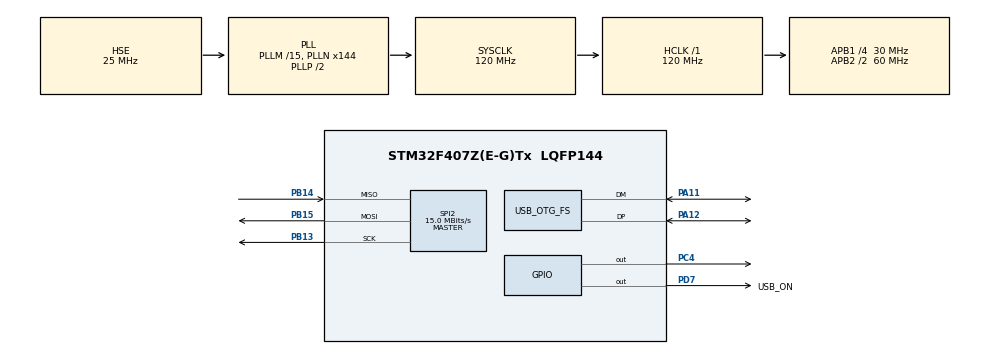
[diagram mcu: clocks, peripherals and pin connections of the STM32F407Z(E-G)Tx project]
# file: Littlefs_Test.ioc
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Mcu.Family=STM32F4
Mcu.Name=STM32F407Z(E-G)Tx
Mcu.Package=LQFP144
NVIC.OTG_FS_IRQn=true\:0\:0\:false\:false\:true\:true\:true\:true
NVIC.PriorityGroup=NVIC_PRIORITYGROUP_4
PA11.Mode=Device_Only
PA11.Signal=USB_OTG_FS_DM
PA12.Mode=Device_Only
PA12.Signal=USB_OTG_FS_DP
PB13.Mode=Full_Duplex_Master
PB13.Signal=SPI2_SCK
PB14.Mode=Full_Duplex_Master
PB14.Signal=SPI2_MISO
PB15.Mode=Full_Duplex_Master
PB15.Signal=SPI2_MOSI
PC14-OSC32_IN.Mode=LSE-External-Oscillator
PC14-OSC32_IN.Signal=RCC_OSC32_IN
PC15-OSC32_OUT.Mode=LSE-External-Oscillator
PC15-OSC32_OUT.Signal=RCC_OSC32_OUT
PC4.Signal=GPIO_Output
PD7.GPIO_Label=USB_ON
PD7.Signal=GPIO_Output
PH0-OSC_IN.Mode=HSE-External-Oscillator
PH0-OSC_IN.Signal=RCC_OSC_IN
PH1-OSC_OUT.Mode=HSE-External-Oscillator
PH1-OSC_OUT.Signal=RCC_OSC_OUT
ProjectManager.HeapSize=0x2000
ProjectManager.StackSize=0x4000
ProjectManager.TargetToolchain=STM32CubeIDE
RCC.48MHZClocksFreq_Value=48000000
RCC.AHBFreq_Value=120000000
RCC.APB1CLKDivider=RCC_HCLK_DIV4
RCC.APB1Freq_Value=30000000
RCC.APB1TimFreq_Value=60000000
RCC.APB2CLKDivider=RCC_HCLK_DIV2
RCC.APB2Freq_Value=60000000
RCC.APB2TimFreq_Value=120000000
RCC.CortexFreq_Value=120000000
RCC.HCLKFreq_Value=120000000
RCC.HSE_VALUE=25000000
RCC.HSI_VALUE=16000000
RCC.PLLM=15
RCC.PLLN=144
RCC.PLLQ=5
RCC.SYSCLKFreq_VALUE=120000000
RCC.SYSCLKSource=RCC_SYSCLKSOURCE_PLLCLK
RCC.VCOOutputFreq_Value=240000000
SPI2.BaudRatePrescaler=SPI_BAUDRATEPRESCALER_2
SPI2.CalculateBaudRate=15.0 MBits/s
SPI2.Direction=SPI_DIRECTION_2LINES
SPI2.Mode=SPI_MODE_MASTER
SPI2.VirtualType=VM_MASTER
USB_DEVICE.CLASS_NAME_FS=CDC
USB_DEVICE.VirtualMode-CDC_FS=Cdc
USB_DEVICE.VirtualModeFS=Cdc_FS
USB_OTG_FS.VirtualMode=Device_Only
VP_USB_DEVICE_VS_USB_DEVICE_CDC_FS.Mode=CDC_FS
board=custom

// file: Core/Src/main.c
/* USER CODE BEGIN Header */
/**
  ******************************************************************************
  * @file           : main.c
  * @brief          : Main program body
  ******************************************************************************
  * @attention
  *
  * Copyright (c) 2026 STMicroelectronics.
  * All rights reserved.
  *
  * This software is licensed under terms that can be found in the LICENSE file
  * in the root directory of this software component.
  * If no LICENSE file comes with this software, it is provided AS-IS.
  *
  ******************************************************************************
  */
/* USER CODE END Header */
#include "main.h"
#include "usb_device.h"

/* USER CODE BEGIN Includes */
#include "lfs.h"
#include "W25Qxx.h"
#include "usbd_cdc_if.h"
#include <string.h>
#include <stdio.h>

/* USER CODE END Includes */

/* USER CODE BEGIN PD */
#define RX_BUFFER 			4096
#define TX_BUFFER 			30
#define CHUNK_SIZE       	256

/* USER CODE END PD */

SPI_HandleTypeDef hspi2;

/* USER CODE BEGIN PV */
lfs_t lfs;
lfs_file_t file1;
lfs_file_t file2;

lfs_dir_t dir;
struct lfs_info info;

int flag = 0;
uint32_t lenBuf = 0;
uint8_t resBuffer[256];
char text[64];
char buf1[] = "hello this is page 2\n";
char buf2[] = "hello this is page 3 offset 100\n";
char buf3[] = "hello this is page 16\n";
uint8_t writeEnable = 0;

/* USER CODE END PV */

void SystemClock_Config(void);
static void MX_GPIO_Init(void);
static void MX_SPI2_Init(void);
/* USER CODE BEGIN PFP */
int lfs_read(const struct lfs_config *c,
              lfs_block_t block,
              lfs_off_t off,
              void *buffer,
              lfs_size_t size)
{
    uint32_t addr = block * c->block_size + off;
    uint32_t page = addr / 256;
	uint32_t offset = addr % 256;
    W25Q_Read(page, offset, size, buffer);
    return 0;
}

int lfs_prog(const struct lfs_config *c,
              lfs_block_t block,
              lfs_off_t off,
              const void *buffer,
              lfs_size_t size)
{
	uint32_t addr = block * c->block_size + off;
	    const uint8_t *data = buffer;

	    while(size)
	    {
	        uint32_t page = addr / 256;
	        uint32_t offset = addr % 256;

	        uint32_t chunk = 256 - offset;
	        if(chunk > size) chunk = size;

	        W25Q_Write(page, offset, chunk, (uint8_t*)data);

	        addr += chunk;
	        data += chunk;
	        size -= chunk;
	    }
    return 0;
}

int lfs_erase(const struct lfs_config *c,
               lfs_block_t block)
{
    uint32_t addr = block * c->block_size;
    uint16_t numsector = addr / 4096;
    W25Q_Erase_Sector(numsector);
    return 0;
}

int lfs_sync(const struct lfs_config *c)
{
    return 0;
}
/* USER CODE END PFP */

/* USER CODE BEGIN 0 */
struct lfs_config cfg =
{
.read  = lfs_read,
.prog  = lfs_prog,
.erase = lfs_erase,
.sync  = lfs_sync,

.read_size = 256,
.prog_size = 256,
.block_size = 4096,
.block_count = 1024,
.cache_size = 256,
.lookahead_size = 16,
.block_cycles = 500
};
/* USER CODE END 0 */

int main(void)
{

  /* MCU Configuration--------------------------------------------------------*/

  /* Reset of all peripherals, Initializes the Flash interface and the Systick. */
  HAL_Init();

  /* Configure the system clock */
  SystemClock_Config();

  /* Initialize all configured peripherals */
  MX_GPIO_Init();
  MX_SPI2_Init();
  MX_USB_DEVICE_Init();
  /* USER CODE BEGIN 2 */
  W25Q_Reset();
  uint32_t ID = 0;
  ID = W25Q_ReadID();
  writeEnable = W25Q_Read_Byte(0);

  for(uint8_t i = 0; i < 2; i++){
	  W25Q_Erase_Sector(i);
	  HAL_Delay(20);
  }

  int err = lfs_mount(&lfs, &cfg);
  int err1 = 0 ;
  if (err < 0)
  {
      printf("file open failed %d\n", err);
  }
  if (err)
  {
      lfs_format(&lfs, &cfg);
      err1 = lfs_mount(&lfs, &cfg);
  }
  if (err1 < 0)
    {
        printf("file open failed %d\n", err1);
    }
  lfs_file_open(&lfs, &file1, "test1.txt", LFS_O_WRONLY | LFS_O_CREAT);
  char msg[] = "this is a test for LittleFS and it is working.\n";

  lfs_file_write(&lfs, &file1, msg, sizeof(msg));
  lfs_file_close(&lfs, &file1);

  lfs_file_open(&lfs, &file2, "test2.txt", LFS_O_WRONLY | LFS_O_CREAT);
  char msg2[] = "This file is the seccond file for testing LittleFS!\n";

  lfs_file_write(&lfs, &file2, msg2, sizeof(msg2));
  lfs_file_close(&lfs, &file2);

  /* USER CODE END 2 */

  /* Infinite loop */
  while (1)
  {

    /* USER CODE BEGIN 3 */
	  lfs_file_open(&lfs, &file1, "test1.txt", LFS_O_RDONLY);
	  lfs_file_read(&lfs, &file1, text, sizeof(text)-1);
	  lfs_file_close(&lfs, &file1);
	  CDC_Transmit_FS((uint8_t *)text, strlen(text));
	  lfs_file_open(&lfs, &file2, "test2.txt", LFS_O_RDONLY);
	  lfs_file_read(&lfs, &file2, text, sizeof(text)-1);
	  lfs_file_close(&lfs, &file2);
	  CDC_Transmit_FS((uint8_t *)text, strlen(text));
	  lfs_dir_t dir;
	  struct lfs_info info;

	  lfs_dir_open(&lfs, &dir, "/");

	  while (lfs_dir_read(&lfs, &dir, &info) > 0)
	  {
		  char buf_info[64];
	      sprintf(buf_info,"File: %s\n", info.name);
	      CDC_Transmit_FS((uint8_t *)buf_info, strlen(buf_info));
	  }

	  lfs_dir_close(&lfs, &dir);
	  while(1);

  }
  /* USER CODE END 3 */
}

void SystemClock_Config(void)
{
  RCC_OscInitTypeDef RCC_OscInitStruct = {0};
  RCC_ClkInitTypeDef RCC_ClkInitStruct = {0};

  /** Configure the main internal regulator output voltage
  */
  __HAL_RCC_PWR_CLK_ENABLE();
  __HAL_PWR_VOLTAGESCALING_CONFIG(PWR_REGULATOR_VOLTAGE_SCALE1);

  /** Initializes the RCC Oscillators according to the specified parameters
  * in the RCC_OscInitTypeDef structure.
  */
  RCC_OscInitStruct.OscillatorType = RCC_OSCILLATORTYPE_HSE;
  RCC_OscInitStruct.HSEState = RCC_HSE_ON;
  RCC_OscInitStruct.PLL.PLLState = RCC_PLL_ON;
  RCC_OscInitStruct.PLL.PLLSource = RCC_PLLSOURCE_HSE;
  RCC_OscInitStruct.PLL.PLLM = 15;
  RCC_OscInitStruct.PLL.PLLN = 144;
  RCC_OscInitStruct.PLL.PLLP = RCC_PLLP_DIV2;
  RCC_OscInitStruct.PLL.PLLQ = 5;
  if (HAL_RCC_OscConfig(&RCC_OscInitStruct) != HAL_OK)
  {
    Error_Handler();
  }

  /** Initializes the CPU, AHB and APB buses clocks
  */
  RCC_ClkInitStruct.ClockType = RCC_CLOCKTYPE_HCLK|RCC_CLOCKTYPE_SYSCLK
                              |RCC_CLOCKTYPE_PCLK1|RCC_CLOCKTYPE_PCLK2;
  RCC_ClkInitStruct.SYSCLKSource = RCC_SYSCLKSOURCE_PLLCLK;
  RCC_ClkInitStruct.AHBCLKDivider = RCC_SYSCLK_DIV1;
  RCC_ClkInitStruct.APB1CLKDivider = RCC_HCLK_DIV4;
  RCC_ClkInitStruct.APB2CLKDivider = RCC_HCLK_DIV2;

  if (HAL_RCC_ClockConfig(&RCC_ClkInitStruct, FLASH_LATENCY_3) != HAL_OK)
  {
    Error_Handler();
  }
}

static void MX_SPI2_Init(void)
{

  /* SPI2 parameter configuration*/
  hspi2.Instance = SPI2;
  hspi2.Init.Mode = SPI_MODE_MASTER;
  hspi2.Init.Direction = SPI_DIRECTION_2LINES;
  hspi2.Init.DataSize = SPI_DATASIZE_8BIT;
  hspi2.Init.CLKPolarity = SPI_POLARITY_LOW;
  hspi2.Init.CLKPhase = SPI_PHASE_1EDGE;
  hspi2.Init.NSS = SPI_NSS_SOFT;
  hspi2.Init.BaudRatePrescaler = SPI_BAUDRATEPRESCALER_2;
  hspi2.Init.FirstBit = SPI_FIRSTBIT_MSB;
  hspi2.Init.TIMode = SPI_TIMODE_DISABLE;
  hspi2.Init.CRCCalculation = SPI_CRCCALCULATION_DISABLE;
  hspi2.Init.CRCPolynomial = 10;
  if (HAL_SPI_Init(&hspi2) != HAL_OK)
  {
    Error_Handler();
  }

}

static void MX_GPIO_Init(void)
{
  GPIO_InitTypeDef GPIO_InitStruct = {0};

  /* GPIO Ports Clock Enable */
  __HAL_RCC_GPIOC_CLK_ENABLE();
  __HAL_RCC_GPIOH_CLK_ENABLE();
  __HAL_RCC_GPIOB_CLK_ENABLE();
  __HAL_RCC_GPIOA_CLK_ENABLE();
  __HAL_RCC_GPIOD_CLK_ENABLE();

  /*Configure GPIO pin Output Level */
  HAL_GPIO_WritePin(GPIOC, GPIO_PIN_4, GPIO_PIN_RESET);

  /*Configure GPIO pin Output Level */
  HAL_GPIO_WritePin(USB_ON_GPIO_Port, USB_ON_Pin, GPIO_PIN_RESET);

  /*Configure GPIO pin : PC4 */
  GPIO_InitStruct.Pin = GPIO_PIN_4;
  GPIO_InitStruct.Mode = GPIO_MODE_OUTPUT_PP;
  GPIO_InitStruct.Pull = GPIO_NOPULL;
  GPIO_InitStruct.Speed = GPIO_SPEED_FREQ_LOW;
  HAL_GPIO_Init(GPIOC, &GPIO_InitStruct);

  /*Configure GPIO pin : USB_ON_Pin */
  GPIO_InitStruct.Pin = USB_ON_Pin;
  GPIO_InitStruct.Mode = GPIO_MODE_OUTPUT_PP;
  GPIO_InitStruct.Pull = GPIO_NOPULL;
  GPIO_InitStruct.Speed = GPIO_SPEED_FREQ_LOW;
  HAL_GPIO_Init(USB_ON_GPIO_Port, &GPIO_InitStruct);

}

void Error_Handler(void)
{
  __disable_irq();
  while (1)
  {
  }
}
